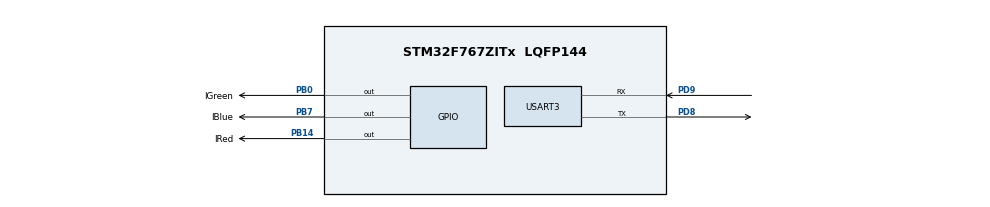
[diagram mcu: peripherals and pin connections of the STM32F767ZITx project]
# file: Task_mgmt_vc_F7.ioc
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FREERTOS.Events01=cmdEvent,Dynamic,NULL
FREERTOS.Queues01=coordQueue,16,uint16_t,0,Dynamic,NULL,NULL;crtQueueOne,16,uint16_t,0,Dynamic,NULL,NULL;crtQueueTwo,16,uint16_t,0,Dynamic,NULL,NULL
FREERTOS.Tasks01=defaultTask,8,128,StartDefaultTask,Default,NULL,Dynamic,NULL,NULL;coordTask,32,128,coordTaskImpl,Default,NULL,Dynamic,NULL,NULL;controlTaskOne,24,128,controlTaskOneImpl,Default,NULL,Dynamic,NULL,NULL;controlTaskTwo,24,128,controlTaskTwoImpl,Default,NULL,Dynamic,NULL,NULL
FREERTOS.configUSE_NEWLIB_REENTRANT=1
Mcu.Family=STM32F7
Mcu.Name=STM32F767ZITx
Mcu.Package=LQFP144
NVIC.PriorityGroup=NVIC_PRIORITYGROUP_4
NVIC.TIM1_UP_TIM10_IRQn=true\:15\:0\:false\:false\:true\:false\:false\:true\:true
NVIC.TimeBase=TIM1_UP_TIM10_IRQn
NVIC.TimeBaseIP=TIM1
NVIC.USART3_IRQn=true\:5\:0\:false\:false\:true\:true\:true\:true\:true
PA13.Mode=Serial_Wire
PA13.Signal=SYS_JTMS-SWDIO
PA14.Mode=Serial_Wire
PA14.Signal=SYS_JTCK-SWCLK
PB0.GPIO_Label=IGreen
PB0.Signal=GPIO_Output
PB14.GPIO_Label=IRed
PB14.Signal=GPIO_Output
PB7.GPIO_Label=IBlue
PB7.Signal=GPIO_Output
PD8.Mode=Asynchronous
PD8.Signal=USART3_TX
PD9.Mode=Asynchronous
PD9.Signal=USART3_RX
ProjectManager.HeapSize=0x200
ProjectManager.StackSize=0x400
ProjectManager.TargetToolchain=STM32CubeIDE
RCC.HSE_VALUE=25000000
RCC.HSI_VALUE=16000000
RCC.LSE_VALUE=32768
RCC.USBFreq_Value=96000000
RCC.VCOOutputFreq_Value=192000000
USART3.VirtualMode-Asynchronous=VM_ASYNC
VP_FREERTOS_VS_CMSIS_V2.Mode=CMSIS_V2
VP_SYS_VS_tim1.Mode=TIM1
board=custom

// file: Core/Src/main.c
/* USER CODE BEGIN Header */
/**
  ******************************************************************************
  * @file           : main.c
  * @brief          : Main program body
  ******************************************************************************
  * @attention
  *
  * Copyright (c) 2023 STMicroelectronics.
  * All rights reserved.
  *
  * This software is licensed under terms that can be found in the LICENSE file
  * in the root directory of this software component.
  * If no LICENSE file comes with this software, it is provided AS-IS.
  *
  ******************************************************************************
  */
/* USER CODE END Header */
#include "main.h"
#include "cmsis_os.h"

UART_HandleTypeDef huart3;

/* Definitions for defaultTask */
osThreadId_t defaultTaskHandle;
const osThreadAttr_t defaultTask_attributes = {
  .name = "defaultTask",
  .stack_size = 128 * 4,
  .priority = (osPriority_t) osPriorityLow,
};
/* Definitions for coordTask */
osThreadId_t coordTaskHandle;
const osThreadAttr_t coordTask_attributes = {
  .name = "coordTask",
  .stack_size = 128 * 4,
  .priority = (osPriority_t) osPriorityAboveNormal,
};
/* Definitions for controlTaskOne */
osThreadId_t controlTaskOneHandle;
const osThreadAttr_t controlTaskOne_attributes = {
  .name = "controlTaskOne",
  .stack_size = 128 * 4,
  .priority = (osPriority_t) osPriorityNormal,
};
/* Definitions for controlTaskTwo */
osThreadId_t controlTaskTwoHandle;
const osThreadAttr_t controlTaskTwo_attributes = {
  .name = "controlTaskTwo",
  .stack_size = 128 * 4,
  .priority = (osPriority_t) osPriorityNormal,
};
/* Definitions for coordQueue */
osMessageQueueId_t coordQueueHandle;
const osMessageQueueAttr_t coordQueue_attributes = {
  .name = "coordQueue"
};
/* Definitions for crtQueueOne */
osMessageQueueId_t crtQueueOneHandle;
const osMessageQueueAttr_t crtQueueOne_attributes = {
  .name = "crtQueueOne"
};
/* Definitions for crtQueueTwo */
osMessageQueueId_t crtQueueTwoHandle;
const osMessageQueueAttr_t crtQueueTwo_attributes = {
  .name = "crtQueueTwo"
};
/* Definitions for cmdEvent */
osEventFlagsId_t cmdEventHandle;
const osEventFlagsAttr_t cmdEvent_attributes = {
  .name = "cmdEvent"
};

void SystemClock_Config(void);
static void MX_GPIO_Init(void);
static void MX_USART3_UART_Init(void);
void StartDefaultTask(void *argument);
void coordTaskImpl(void *argument);
void controlTaskOneImpl(void *argument);
void controlTaskTwoImpl(void *argument);

/* USER CODE BEGIN 0 */

/*
 * Control message format Ver. 1.
 *  char ctrl_msg[] = {
 *		"sen": "XYZ",  // 3 character sensor type
 *  	"sid": "123",  // 3 digit sensor id
 *  	"cmd": "ON_",  // 3 character command
 *		"dur": "045",  // 3 digit duration in minutes
 *		"val": "075",  // 3 digit value (optional, depending on the sensor type)
 *		"sts": "OK_",  // 3 character status (OK_, ERR, etc.)
 *	}
 * Example messages :
 * REL001ON_005162OK_000---
 * CO2003MEA120162OK_400PPM
 * */

// 2. Define the message queue message format.

#define MSG_SZ 46

typedef struct{
	uint8_t buffer[MSG_SZ];
	uint8_t sID;
} MSQ_TYPE;

#define CMD_RX_EVNT  0x00000001U // Command received event.
#define LED_ON_EVNT  0x00000002U // LED on event.
#define LED_OFF_EVNT 0x00000004U // LED off event.

/* USER CODE END 0 */

int main(void)
{

  /* MCU Configuration--------------------------------------------------------*/

  /* Reset of all peripherals, Initializes the Flash interface and the Systick. */
  HAL_Init();

  /* Configure the system clock */
  SystemClock_Config();

  /* Initialize all configured peripherals */
  MX_GPIO_Init();
  MX_USART3_UART_Init();

  /* Init scheduler */
  osKernelInitialize();

  /* Create the queue(s) */
  /* creation of coordQueue */
  coordQueueHandle = osMessageQueueNew (16, sizeof(MSQ_TYPE), &coordQueue_attributes);

  /* creation of crtQueueOne */
  crtQueueOneHandle = osMessageQueueNew (16, sizeof(MSQ_TYPE), &crtQueueOne_attributes);

  /* creation of crtQueueTwo */
  crtQueueTwoHandle = osMessageQueueNew (16, sizeof(MSQ_TYPE), &crtQueueTwo_attributes);

  /* Create the thread(s) */
  /* creation of defaultTask */
  defaultTaskHandle = osThreadNew(StartDefaultTask, NULL, &defaultTask_attributes);

  /* creation of coordTask */
  coordTaskHandle = osThreadNew(coordTaskImpl, NULL, &coordTask_attributes);

  /* creation of controlTaskOne */
  controlTaskOneHandle = osThreadNew(controlTaskOneImpl, NULL, &controlTaskOne_attributes);

  /* creation of controlTaskTwo */
  controlTaskTwoHandle = osThreadNew(controlTaskTwoImpl, NULL, &controlTaskTwo_attributes);

  /* Create the event(s) */
  /* creation of cmdEvent */
  cmdEventHandle = osEventFlagsNew(&cmdEvent_attributes);

  /* Start scheduler */
  osKernelStart();

  /* We should never get here as control is now taken by the scheduler */
  /* Infinite loop */
  while (1)
  {

  }
}

void SystemClock_Config(void)
{
  RCC_OscInitTypeDef RCC_OscInitStruct = {0};
  RCC_ClkInitTypeDef RCC_ClkInitStruct = {0};

  /** Configure the main internal regulator output voltage
  */
  __HAL_RCC_PWR_CLK_ENABLE();
  __HAL_PWR_VOLTAGESCALING_CONFIG(PWR_REGULATOR_VOLTAGE_SCALE3);

  /** Initializes the RCC Oscillators according to the specified parameters
  * in the RCC_OscInitTypeDef structure.
  */
  RCC_OscInitStruct.OscillatorType = RCC_OSCILLATORTYPE_HSI;
  RCC_OscInitStruct.HSIState = RCC_HSI_ON;
  RCC_OscInitStruct.HSICalibrationValue = RCC_HSICALIBRATION_DEFAULT;
  RCC_OscInitStruct.PLL.PLLState = RCC_PLL_NONE;
  if (HAL_RCC_OscConfig(&RCC_OscInitStruct) != HAL_OK)
  {
    Error_Handler();
  }

  /** Initializes the CPU, AHB and APB buses clocks
  */
  RCC_ClkInitStruct.ClockType = RCC_CLOCKTYPE_HCLK|RCC_CLOCKTYPE_SYSCLK
                              |RCC_CLOCKTYPE_PCLK1|RCC_CLOCKTYPE_PCLK2;
  RCC_ClkInitStruct.SYSCLKSource = RCC_SYSCLKSOURCE_HSI;
  RCC_ClkInitStruct.AHBCLKDivider = RCC_SYSCLK_DIV1;
  RCC_ClkInitStruct.APB1CLKDivider = RCC_HCLK_DIV1;
  RCC_ClkInitStruct.APB2CLKDivider = RCC_HCLK_DIV1;

  if (HAL_RCC_ClockConfig(&RCC_ClkInitStruct, FLASH_LATENCY_0) != HAL_OK)
  {
    Error_Handler();
  }
}

static void MX_USART3_UART_Init(void)
{

  huart3.Instance = USART3;
  huart3.Init.BaudRate = 115200;
  huart3.Init.WordLength = UART_WORDLENGTH_8B;
  huart3.Init.StopBits = UART_STOPBITS_1;
  huart3.Init.Parity = UART_PARITY_NONE;
  huart3.Init.Mode = UART_MODE_TX_RX;
  huart3.Init.HwFlowCtl = UART_HWCONTROL_NONE;
  huart3.Init.OverSampling = UART_OVERSAMPLING_16;
  huart3.Init.OneBitSampling = UART_ONE_BIT_SAMPLE_DISABLE;
  huart3.AdvancedInit.AdvFeatureInit = UART_ADVFEATURE_NO_INIT;
  if (HAL_UART_Init(&huart3) != HAL_OK)
  {
    Error_Handler();
  }

}

static void MX_GPIO_Init(void)
{
  GPIO_InitTypeDef GPIO_InitStruct = {0};

  /* GPIO Ports Clock Enable */
  __HAL_RCC_GPIOB_CLK_ENABLE();
  __HAL_RCC_GPIOD_CLK_ENABLE();
  __HAL_RCC_GPIOA_CLK_ENABLE();

  /*Configure GPIO pin Output Level */
  HAL_GPIO_WritePin(GPIOB, IGreen_Pin|IRed_Pin|IBlue_Pin, GPIO_PIN_RESET);

  /*Configure GPIO pins : IGreen_Pin IRed_Pin IBlue_Pin */
  GPIO_InitStruct.Pin = IGreen_Pin|IRed_Pin|IBlue_Pin;
  GPIO_InitStruct.Mode = GPIO_MODE_OUTPUT_PP;
  GPIO_InitStruct.Pull = GPIO_NOPULL;
  GPIO_InitStruct.Speed = GPIO_SPEED_FREQ_LOW;
  HAL_GPIO_Init(GPIOB, &GPIO_InitStruct);

}

/* USER CODE BEGIN 4 */
void HAL_UART_RxCpltCallback(UART_HandleTypeDef *huart)
{
	char			buffer[MSG_SZ];
	MSQ_TYPE    	msg;
	osStatus_t   	msq_status;
	JSONStatus_t 	json_status;

	// Receive a fixed size JSON formatted message
	HAL_UART_Receive_IT(&huart3, buffer, sizeof(buffer));
	// Validate that the JSON message format is correct
	json_status = JSON_Validate(buffer, sizeof(buffer)-1);

	if(json_status == JSONSuccess) {
		// Prepare the control message
		strcpy(msg.buffer, buffer);
		msg.sID = 0U;
		// Place the control message in the message queue
		msq_status = osMessageQueuePut(controlMsgQueueHandle, &msg, 0U, 0U);
		if(msq_status == 0){
			// Signal the control task
			osEventFlagsSet(cmdEventHandle, CMD_RX_EVNT);
		}
	}
}

void ledControl(const uint8_t *args){
	char id[4];
	// Extract the ID and option
	strncpy(id, (char*)args, 3);
	id[3] = '\x0';
}

/* USER CODE END 4 */

void StartDefaultTask(void *argument)
{
	for(;;)
	{
		osDelay(1);
	}
}

void coordTaskImpl(void *argument)
{
  for(;;)
  {
    osDelay(1);
  }
}

void controlTaskOneImpl(void *argument)
{
  for(;;)
  {
    osDelay(1);
  }
}

void controlTaskTwoImpl(void *argument)
{
  for(;;)
  {
    osDelay(1);
  }
}

void HAL_TIM_PeriodElapsedCallback(TIM_HandleTypeDef *htim)
{
  if (htim->Instance == TIM1) {
    HAL_IncTick();
  }
}

void Error_Handler(void)
{
  __disable_irq();
  while (1)
  {
  }
}
